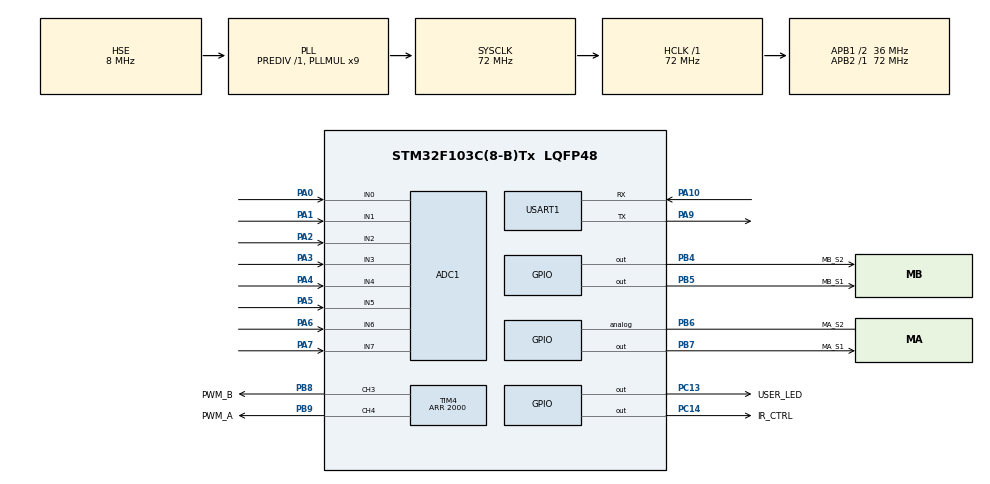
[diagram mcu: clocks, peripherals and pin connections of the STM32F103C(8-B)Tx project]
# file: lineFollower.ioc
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ADC1.Channel-0\#ChannelRegularConversion=ADC_CHANNEL_0
ADC1.Channel-1\#ChannelRegularConversion=ADC_CHANNEL_1
ADC1.Channel-2\#ChannelRegularConversion=ADC_CHANNEL_2
ADC1.Channel-3\#ChannelRegularConversion=ADC_CHANNEL_3
ADC1.Channel-4\#ChannelRegularConversion=ADC_CHANNEL_4
ADC1.Channel-5\#ChannelRegularConversion=ADC_CHANNEL_5
ADC1.Channel-6\#ChannelRegularConversion=ADC_CHANNEL_6
ADC1.Channel-7\#ChannelRegularConversion=ADC_CHANNEL_7
ADC1.ContinuousConvMode=ENABLE
ADC1.NbrOfConversion=8
ADC1.NbrOfConversionFlag=1
ADC1.Rank-0\#ChannelRegularConversion=1
ADC1.Rank-1\#ChannelRegularConversion=2
ADC1.Rank-2\#ChannelRegularConversion=3
ADC1.Rank-3\#ChannelRegularConversion=4
ADC1.Rank-4\#ChannelRegularConversion=5
ADC1.Rank-5\#ChannelRegularConversion=6
ADC1.Rank-6\#ChannelRegularConversion=7
ADC1.Rank-7\#ChannelRegularConversion=8
ADC1.SamplingTime-0\#ChannelRegularConversion=ADC_SAMPLETIME_1CYCLE_5
ADC1.SamplingTime-1\#ChannelRegularConversion=ADC_SAMPLETIME_1CYCLE_5
ADC1.SamplingTime-2\#ChannelRegularConversion=ADC_SAMPLETIME_1CYCLE_5
ADC1.SamplingTime-3\#ChannelRegularConversion=ADC_SAMPLETIME_1CYCLE_5
ADC1.SamplingTime-4\#ChannelRegularConversion=ADC_SAMPLETIME_1CYCLE_5
ADC1.SamplingTime-5\#ChannelRegularConversion=ADC_SAMPLETIME_1CYCLE_5
ADC1.SamplingTime-6\#ChannelRegularConversion=ADC_SAMPLETIME_1CYCLE_5
ADC1.SamplingTime-7\#ChannelRegularConversion=ADC_SAMPLETIME_1CYCLE_5
ADC1.master=1
Dma.ADC1.0.Direction=DMA_PERIPH_TO_MEMORY
Dma.ADC1.0.Instance=DMA1_Channel1
Dma.ADC1.0.MemDataAlignment=DMA_MDATAALIGN_WORD
Dma.ADC1.0.MemInc=DMA_MINC_ENABLE
Dma.ADC1.0.Mode=DMA_CIRCULAR
Dma.ADC1.0.PeriphDataAlignment=DMA_PDATAALIGN_WORD
Dma.ADC1.0.PeriphInc=DMA_PINC_DISABLE
Dma.ADC1.0.Priority=DMA_PRIORITY_MEDIUM
Dma.Request0=ADC1
Mcu.Family=STM32F1
Mcu.Name=STM32F103C(8-B)Tx
Mcu.Package=LQFP48
NVIC.DMA1_Channel1_IRQn=true\:0\:0\:false\:false\:true
NVIC.PriorityGroup=NVIC_PRIORITYGROUP_4
NVIC.TIM2_IRQn=true\:0\:0\:false\:false\:true
PA0-WKUP.Signal=ADCx_IN0
PA1.Signal=ADCx_IN1
PA10.Mode=Asynchronous
PA10.Signal=USART1_RX
PA13.Mode=Serial_Wire
PA13.Signal=SYS_JTMS-SWDIO
PA14.Mode=Serial_Wire
PA14.Signal=SYS_JTCK-SWCLK
PA2.Signal=ADCx_IN2
PA3.Signal=ADCx_IN3
PA4.Signal=ADCx_IN4
PA5.Signal=ADCx_IN5
PA6.Signal=ADCx_IN6
PA7.Signal=ADCx_IN7
PA9.Mode=Asynchronous
PA9.Signal=USART1_TX
PB4.GPIO_Label=MB_S2
PB4.Signal=GPIO_Output
PB5.GPIO_Label=MB_S1
PB5.Signal=GPIO_Output
PB6.GPIO_Label=MA_S2
PB6.Signal=GPIO_Analog
PB7.GPIO_Label=MA_S1
PB7.Signal=GPIO_Output
PB8.GPIO_Label=PWM_B
PB8.Signal=S_TIM4_CH3
PB9.GPIO_Label=PWM_A
PB9.Signal=S_TIM4_CH4
PC13-TAMPER-RTC.GPIO_Label=USER_LED
PC13-TAMPER-RTC.Signal=GPIO_Output
PC14-OSC32_IN.GPIO_Label=IR_CTRL
PC14-OSC32_IN.Signal=GPIO_Output
PD0-OSC_IN.Mode=HSE-External-Oscillator
PD0-OSC_IN.Signal=RCC_OSC_IN
PD1-OSC_OUT.Mode=HSE-External-Oscillator
PD1-OSC_OUT.Signal=RCC_OSC_OUT
ProjectManager.HeapSize=0x200
ProjectManager.StackSize=0x400
ProjectManager.TargetToolchain=MDK-ARM V5
RCC.ADCPresc=RCC_ADCPCLK2_DIV6
RCC.AHBFreq_Value=72000000
RCC.APB1CLKDivider=RCC_HCLK_DIV2
RCC.APB1Freq_Value=36000000
RCC.APB1TimFreq_Value=72000000
RCC.APB2Freq_Value=72000000
RCC.APB2TimFreq_Value=72000000
RCC.HCLKFreq_Value=72000000
RCC.PLLMUL=RCC_PLL_MUL9
RCC.PLLSourceVirtual=RCC_PLLSOURCE_HSE
RCC.SYSCLKFreq_VALUE=72000000
RCC.SYSCLKSource=RCC_SYSCLKSOURCE_PLLCLK
RCC.USBFreq_Value=72000000
SH.ADCx_IN0.0=ADC1_IN0,IN0
SH.ADCx_IN1.0=ADC1_IN1,IN1
SH.ADCx_IN2.0=ADC1_IN2,IN2
SH.ADCx_IN3.0=ADC1_IN3,IN3
SH.ADCx_IN4.0=ADC1_IN4,IN4
SH.ADCx_IN5.0=ADC1_IN5,IN5
SH.ADCx_IN6.0=ADC1_IN6,IN6
SH.ADCx_IN7.0=ADC1_IN7,IN7
SH.S_TIM4_CH3.0=TIM4_CH3,PWM Generation3 CH3
SH.S_TIM4_CH4.0=TIM4_CH4,PWM Generation4 CH4
TIM2.Period=10000
TIM2.Prescaler=71
TIM4.Channel-PWM\ Generation3\ CH3=TIM_CHANNEL_3
TIM4.Channel-PWM\ Generation4\ CH4=TIM_CHANNEL_4
TIM4.Period=2000
USART1.VirtualMode=VM_ASYNC
VP_TIM2_VS_ClockSourceINT.Mode=Internal
VP_TIM4_VS_ClockSourceINT.Mode=Internal
board=lineFollower

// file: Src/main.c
#include "main.h"
#include "stm32f1xx_hal.h"
#include "adc.h"
#include "dma.h"
#include "tim.h"
#include "usart.h"
#include "gpio.h"

#include <stdbool.h>
#include "led.h"
#include "ir_array.h"
#include "robot.h"
#include "pid.h"
#include "fsm.h"

#define DELAY(x) HAL_Delay(x)

#define DEBUG_ROBOT

// ir
uint32_t adcBuffer[8] = {0};
float weights[8] = {28.0, 20.0, 12.0, 4.0, -4.0, -12.0, -20.0,-28.0};
IR_array array(8, adcBuffer, weights);
float linepos;
uint8_t binpos;
// leds
Led userLed(USER_LED_GPIO_Port, USER_LED_Pin, true);
Led irControl(IR_CTRL_GPIO_Port, IR_CTRL_Pin);

// motors
RobotPins pins = {GPIOB, MA_S1_Pin, MA_S2_Pin, MB_S1_Pin, MB_S2_Pin};
Robot robot(&pins);

// pid
float kp = 1;
float ki = 0;
float kd = 0;

float Setpoint;
float Input;
float Output;

float Error;

PID pid(&Input, &Output, &Setpoint, kp, ki, kd, DIRECT);

// serial port
uint8_t serialbuffer[64];
uint8_t rxBuffer[16];
float rxParameters[3];
uint8_t rxChar;

// finite state machine

// for FSM
// flags and extended state variables
// --- States --- //
#define IDLE 0
#define CONSERVATIVE  1
#define AGGRESSIVE    2

// --- Events prototipes -- //
bool evt_bigError(void);
bool evt_smallError(void);
bool evt_time(void);

// --- Transitions --- //
Transition IDLE_trans[1] = {
                Transition(&evt_time, CONSERVATIVE)
};
Transition CONSERVATIVE_trans[1] = {
                Transition(&evt_bigError, AGGRESSIVE)
};

Transition AGGRESSIVE_trans[1] = {
                Transition(&evt_smallError, CONSERVATIVE)
};

// --- State Actions prototipes --- //

void IDLE_action(void);
void CONSERVATIVE_action(void);
void AGGRESSIVE_action(void);

// --- State array --- //

State states[4] = {
/* IDLE */      State(&IDLE_action, IDLE_trans, 1, 5000),
/* CONSERVATIVE */    State(&CONSERVATIVE_action, CONSERVATIVE_trans, 1),
/* AGGRESSIVE */   State(&AGGRESSIVE_action, AGGRESSIVE_trans, 1)
};

// --- fsm instance --- //
StateMachine fsm = StateMachine(states, (uint8_t)IDLE, true);

// for testing
float number;
uint32_t flag;
uint32_t uartPrevTime = 0;

void SystemClock_Config(void);
#ifdef __GNUC__
  /* With GCC/RAISONANCE, small printf (option LD Linker->Libraries->Small printf
     set to 'Yes') calls __io_putchar() */
  #define PUTCHAR_PROTOTYPE int __io_putchar(int ch)
#else
  #define PUTCHAR_PROTOTYPE int std::fputc(int ch, FILE *f)
#endif /* __GNUC__ */

/**
  * @brief  Retargets the C library printf function to the USART.
  * @param  None
  * @retval None
  */
PUTCHAR_PROTOTYPE
{
	/* Place your implementation of fputc here */
	/* e.g. write a character to the USART */
	HAL_UART_Transmit(&huart1, (uint8_t *)&ch, 1, 100);
	return ch;
}

int main(void)
{

  /* MCU Configuration----------------------------------------------------------*/
  /* Reset of all peripherals, Initializes the Flash interface and the Systick. */
  HAL_Init();

  /* Configure the system clock */
  SystemClock_Config();

  /* Initialize all configured peripherals */
  MX_GPIO_Init();
  MX_DMA_Init();
  MX_ADC1_Init();
  MX_USART1_UART_Init();
  MX_TIM4_Init();
  MX_TIM2_Init();

	userLed = 1;
	HAL_ADC_Start_DMA(&hadc1, adcBuffer, 8);
	//HAL_Delay(1000);
	userLed = 0;
	userLed = 1;
	irControl = 1;
	array.calibrate();
	userLed = 0;
	// motor test routine

  // pid test
  Setpoint = 0;
  Input = array.getLinePosition();
  pid.SetOutputLimits(-100.0, 100.0);
  pid.SetSampleTime(10);
  pid.SetMode(AUTOMATIC);

	// motors

	HAL_TIM_PWM_Start(&htim4, TIM_CHANNEL_3);
	HAL_TIM_PWM_Start(&htim4, TIM_CHANNEL_4);

	// uart
	//__HAL_UART_ENABLE_IT(&huart1, UART_IT_RXNE);
	HAL_UART_Receive_IT(&huart1, &rxChar, 1);

	// debug
	#ifdef DEBUG_ROBOT
	uartPrevTime = HAL_GetTick();
	#endif

  while (1)
  {
		//huart1.RxXferCount
		Input = array.getLinePosition();
		Error = Setpoint - Input;
    fsm.Run();

    robot.differentialDrive(50.0, Output);
		if(flag == 1)
		{
			pid.SetTunings(rxParameters[0], rxParameters[1], rxParameters[2]);
			#ifdef DEBUG_ROBOT
				printf("parameters: %f %f %f", rxParameters[0], rxParameters[1], rxParameters[2]);
			#endif
			flag = 0;
		}
		#ifdef DEBUG_ROBOT
		if((HAL_GetTick() - uartPrevTime) > 20)
		{
			uartPrevTime = HAL_GetTick();
			//printf("%f,%f \n", Input, Output);
		}
		#endif
  }

}

/** System Clock Configuration*/
void SystemClock_Config(void)
{

  RCC_OscInitTypeDef RCC_OscInitStruct;
  RCC_ClkInitTypeDef RCC_ClkInitStruct;
  RCC_PeriphCLKInitTypeDef PeriphClkInit;

    /**Initializes the CPU, AHB and APB busses clocks
    */
  RCC_OscInitStruct.OscillatorType = RCC_OSCILLATORTYPE_HSE;
  RCC_OscInitStruct.HSEState = RCC_HSE_ON;
  RCC_OscInitStruct.HSEPredivValue = RCC_HSE_PREDIV_DIV1;
  RCC_OscInitStruct.HSIState = RCC_HSI_ON;
  RCC_OscInitStruct.PLL.PLLState = RCC_PLL_ON;
  RCC_OscInitStruct.PLL.PLLSource = RCC_PLLSOURCE_HSE;
  RCC_OscInitStruct.PLL.PLLMUL = RCC_PLL_MUL9;
  if (HAL_RCC_OscConfig(&RCC_OscInitStruct) != HAL_OK)
  {
    _Error_Handler(__FILE__, __LINE__);
  }

    /**Initializes the CPU, AHB and APB busses clocks
    */
  RCC_ClkInitStruct.ClockType = RCC_CLOCKTYPE_HCLK|RCC_CLOCKTYPE_SYSCLK
                              |RCC_CLOCKTYPE_PCLK1|RCC_CLOCKTYPE_PCLK2;
  RCC_ClkInitStruct.SYSCLKSource = RCC_SYSCLKSOURCE_PLLCLK;
  RCC_ClkInitStruct.AHBCLKDivider = RCC_SYSCLK_DIV1;
  RCC_ClkInitStruct.APB1CLKDivider = RCC_HCLK_DIV2;
  RCC_ClkInitStruct.APB2CLKDivider = RCC_HCLK_DIV1;

  if (HAL_RCC_ClockConfig(&RCC_ClkInitStruct, FLASH_LATENCY_2) != HAL_OK)
  {
    _Error_Handler(__FILE__, __LINE__);
  }

  PeriphClkInit.PeriphClockSelection = RCC_PERIPHCLK_ADC;
  PeriphClkInit.AdcClockSelection = RCC_ADCPCLK2_DIV6;
  if (HAL_RCCEx_PeriphCLKConfig(&PeriphClkInit) != HAL_OK)
  {
    _Error_Handler(__FILE__, __LINE__);
  }

    /**Configure the Systick interrupt time
    */
  HAL_SYSTICK_Config(HAL_RCC_GetHCLKFreq()/1000);

    /**Configure the Systick
    */
  HAL_SYSTICK_CLKSourceConfig(SYSTICK_CLKSOURCE_HCLK);

  /* SysTick_IRQn interrupt configuration */
  HAL_NVIC_SetPriority(SysTick_IRQn, 0, 0);
}

/* USER CODE BEGIN 4 */
void HAL_UART_RxCpltCallback(UART_HandleTypeDef *huart)
{
	static uint8_t index = 0;
	static uint8_t parIndex = 0;
	if(huart->Instance == USART1)
	{
		rxBuffer[index] = rxChar;
		index++;

		if(rxChar == ' ')
		{
			rxBuffer[index] = 0;
			index = 0;
			rxParameters[parIndex] = atof((const char *) rxBuffer);
			parIndex++;
		}
		else if(rxChar == '\n')
		{
			rxBuffer[index] = 0;
			index = 0;
			rxParameters[parIndex] = atof((const char *) rxBuffer);
			parIndex =0;
			flag = 1;
		}
		//__HAL_UART_ENABLE_IT(huart, UART_IT_RXNE);
		HAL_UART_Receive_IT(&huart1, &rxChar, 1);
	}
}

// event functions
bool evt_bigError(void)
{
	return abs(Error) > 15.0;
}
bool evt_smallError(void)
{
	return abs(Error) <= 15.0;
}
bool evt_time(void)
{
	return fsm.Elapsed;
}

// state actions

void IDLE_action(void)
{
  if(fsm.StateChanged) // entry action
    {
      #ifdef DEBUG_ROBOT
      printf("entering idle\n");
      #endif
        fsm.StateChanged = false;
        // begin the entry action

        //------
    }
    pid.Compute();
}
void CONSERVATIVE_action(void)
{
  if(fsm.StateChanged) // entry action
    {
      #ifdef DEBUG_ROBOT
      printf("entering conservative\n");
      #endif
        fsm.StateChanged = false;
        // begin the entry action
        pid.SetTunings(2,0,0);
        //------
    }
		pid.Compute();
}
void AGGRESSIVE_action(void)
{
  if(fsm.StateChanged) // entry action
    {
      #ifdef DEBUG_ROBOT
      printf("entering aggressive\n");
      #endif
        fsm.StateChanged = false;
        // begin the entry action
        pid.SetTunings(4,0,0);
        //------
    }
		pid.Compute();
}
/* USER CODE END 4 */

void _Error_Handler(char * file, int line)
{
  while(1)
  {
  }
}
